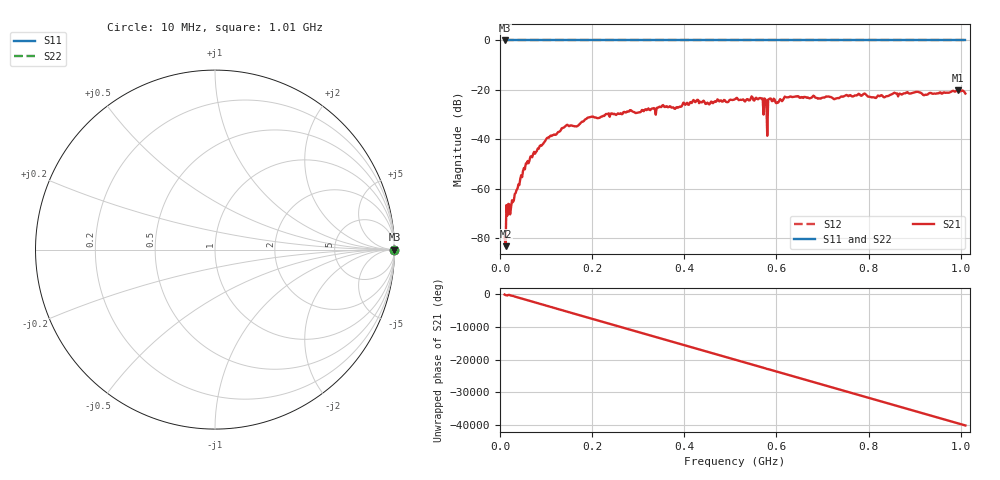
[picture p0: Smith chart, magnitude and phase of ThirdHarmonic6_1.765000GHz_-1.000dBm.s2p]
! 8/16/2025 9:18:59 PM
! C:\ANRITSUVNA\TEMP\TEMP.S2P
! CHANNEL.1
! TR.MEASUREMENT
! RAW.DATA
! RF.CORRECTION.OFF
! AVERAGING.OFF
! IF.BANDWIDTH: 5KHZ
! SWEEPTYPE:  FREQ.SWEEP(Linear)
! Reference Plane Port Info
! PORT:  PORT1  PORT2
! DISTANCE:  0  m  0  m
! TIME:  0  s  0  s
! PHASE.OFFSET:  0  deg.  0  deg.
! LOSS:  0  dB  0  dB
! REF.LOSS:  0  dB  0  dB
! REF.FREQ:  0  Hz  0  Hz
! Power Info
! POWER:  -20  dBm  -20  dBm
! EFF.POWER:  -20  dBm  -20  dBm
! SOURCE.ATTEN:  0  dB  0  dB
! TEST.ATTEN:  0  dB  0  dB
# GHZ S RI R 50.0
! FREQ.GHZ  S11RE  S11IM  S21RE  S21IM  S12RE  S12IM  S22RE  S22IM
!; PortSelection: Port_12
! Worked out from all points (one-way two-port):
!   501 points, 10 MHz to 1.01 GHz, reference 50 ohm
!   highest |S21| = -20.18 dB at 994 MHz (marker M1); lowest = -83.3 dB at 12 MHz (marker M2)
!   lowest |S11| = 0.0 dB at 10 MHz (marker M3)
!   |S11| at or under -10 dB: nowhere
!   |S22| runs from 0.0 to 0.0 dB; largest |S21 - S12| = 1.1
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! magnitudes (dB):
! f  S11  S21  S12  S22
! 10 MHz  0.0  -79.6  0.0  0.0
! 12 MHz  0.0  -83.3  0.0  0.0
! 18 MHz  0.0  -66.2  0.0  0.0
! 26 MHz  0.0  -64.7  0.0  0.0
! 54 MHz  0.0  -52.2  0.0  0.0
! 70 MHz  0.0  -47.3  0.0  0.0
! 106 MHz  0.0  -39.4  0.0  0.0
! 144 MHz  0.0  -34.4  0.0  0.0
! 178 MHz  0.0  -32.9  0.0  0.0
! 198 MHz  0.0  -30.9  0.0  0.0
! 344 MHz  0.0  -27.2  0.0  0.0
! 510 MHz  0.0  -23.8  0.0  0.0
! 566 MHz  0.0  -23.4  0.0  0.0
! 574 MHz  0.0  -23.5  0.0  0.0
! 576 MHz  0.0  -23.9  0.0  0.0
! 584 MHz  0.0  -23.8  0.0  0.0
! 586 MHz  0.0  -23.5  0.0  0.0
! 602 MHz  0.0  -25.1  0.0  0.0
! 678 MHz  0.0  -22.8  0.0  0.0
! 844 MHz  0.0  -22.3  0.0  0.0
! 994 MHz  0.0  -20.2  0.0  0.0
! 1.01 GHz  0.0  -21.5  0.0  0.0
